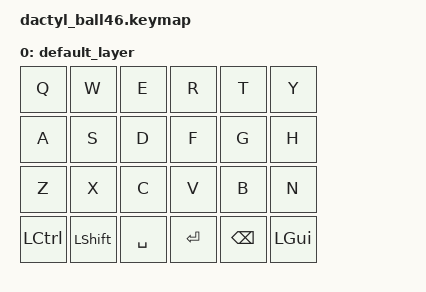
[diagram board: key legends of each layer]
#include <behaviors.dtsi>
#include <dt-bindings/zmk/keys.h>
#include <dt-bindings/zmk/bt.h>

/ {
    keymap {
        compatible = "zmk,keymap";

        default_layer {
            bindings = <
                // ここにキー配置を書いていきます
                // 今は仮の配置です（後で本格的に書き換えます）
                &kp Q  &kp W  &kp E  &kp R  &kp T  &kp Y
                &kp A  &kp S  &kp D  &kp F  &kp G  &kp H
                &kp Z  &kp X  &kp C  &kp V  &kp B  &kp N
                &kp LCTRL  &kp LSHFT  &kp SPACE  &kp ENTER  &kp BSPC  &kp LGUI
            >;
        };
    };
};
